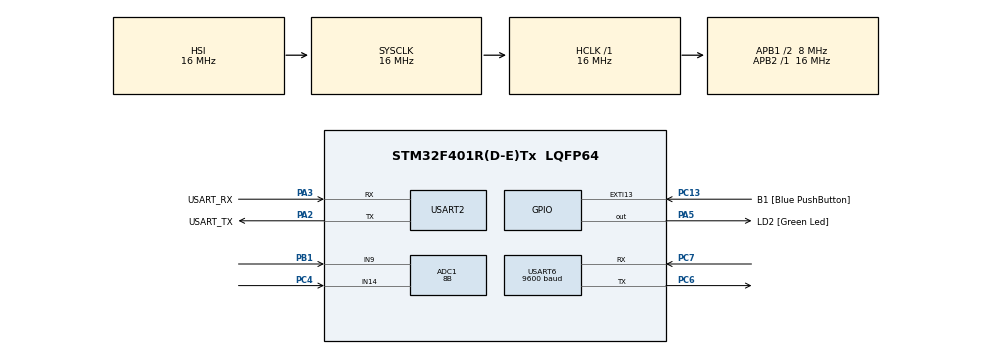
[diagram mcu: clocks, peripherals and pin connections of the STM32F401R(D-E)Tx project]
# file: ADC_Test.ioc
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ADC1.Channel-0\#ChannelRegularConversion=ADC_CHANNEL_9
ADC1.EOCSelection=ADC_EOC_SINGLE_CONV
ADC1.NbrOfConversionFlag=1
ADC1.Rank-0\#ChannelRegularConversion=1
ADC1.Resolution=ADC_RESOLUTION_8B
ADC1.SamplingTime-0\#ChannelRegularConversion=ADC_SAMPLETIME_15CYCLES
ADC1.ScanConvMode=ENABLE
ADC1.master=1
Mcu.Family=STM32F4
Mcu.Name=STM32F401R(D-E)Tx
Mcu.Package=LQFP64
NVIC.PriorityGroup=NVIC_PRIORITYGROUP_0
PA13.GPIO_Label=TMS
PA13.Mode=Serial_Wire
PA13.Signal=SYS_JTMS-SWDIO
PA14.GPIO_Label=TCK
PA14.Mode=Serial_Wire
PA14.Signal=SYS_JTCK-SWCLK
PA2.GPIO_Label=USART_TX
PA2.GPIO_Mode=GPIO_MODE_AF_PP
PA2.GPIO_PuPd=GPIO_NOPULL
PA2.GPIO_Speed=GPIO_SPEED_FREQ_LOW
PA2.Mode=Asynchronous
PA2.Signal=USART2_TX
PA3.GPIO_Label=USART_RX
PA3.GPIO_Mode=GPIO_MODE_AF_PP
PA3.GPIO_PuPd=GPIO_NOPULL
PA3.GPIO_Speed=GPIO_SPEED_FREQ_LOW
PA3.Mode=Asynchronous
PA3.Signal=USART2_RX
PA5.GPIO_Label=LD2 [Green Led]
PA5.GPIO_Mode=GPIO_MODE_OUTPUT_PP
PA5.GPIO_PuPd=GPIO_NOPULL
PA5.GPIO_Speed=GPIO_SPEED_FREQ_LOW
PA5.Signal=GPIO_Output
PB1.Signal=ADCx_IN9
PB3.GPIO_Label=SWO
PB3.Signal=SYS_JTDO-SWO
PC13-ANTI_TAMP.GPIO_Label=B1 [Blue PushButton]
PC13-ANTI_TAMP.GPIO_ModeDefaultEXTI=GPIO_MODE_IT_FALLING
PC13-ANTI_TAMP.GPIO_PuPd=GPIO_NOPULL
PC13-ANTI_TAMP.Signal=GPXTI13
PC14-OSC32_IN.Mode=LSE-External-Oscillator
PC14-OSC32_IN.Signal=RCC_OSC32_IN
PC15-OSC32_OUT.Mode=LSE-External-Oscillator
PC15-OSC32_OUT.Signal=RCC_OSC32_OUT
PC4.Signal=ADCx_IN14
PC6.Mode=Asynchronous
PC6.Signal=USART6_TX
PC7.Mode=Asynchronous
PC7.Signal=USART6_RX
PH0\ -\ OSC_IN.Mode=HSE-External-Clock-Source
PH0\ -\ OSC_IN.Signal=RCC_OSC_IN
PH1\ -\ OSC_OUT.Mode=HSE-External-Clock-Source
PH1\ -\ OSC_OUT.Signal=RCC_OSC_OUT
ProjectManager.HeapSize=0x200
ProjectManager.StackSize=0x400
ProjectManager.TargetToolchain=STM32CubeIDE
RCC.48MHZClocksFreq_Value=48000000
RCC.AHBFreq_Value=16000000
RCC.APB1CLKDivider=RCC_HCLK_DIV2
RCC.APB1Freq_Value=8000000
RCC.APB1TimFreq_Value=16000000
RCC.APB2Freq_Value=16000000
RCC.APB2TimFreq_Value=16000000
RCC.CortexFreq_Value=16000000
RCC.HCLKFreq_Value=16000000
RCC.HSE_VALUE=8000000
RCC.HSI_VALUE=16000000
RCC.PLLN=336
RCC.PLLP=RCC_PLLP_DIV4
RCC.PLLQ=7
RCC.SYSCLKFreq_VALUE=16000000
RCC.VCOOutputFreq_Value=336000000
SH.ADCx_IN14.0=ADC1_IN14,IN14
SH.ADCx_IN9.0=ADC1_IN9,IN9
USART2.VirtualMode=VM_ASYNC
USART6.BaudRate=9600
USART6.VirtualMode=VM_ASYNC
board=NUCLEO-F401RE

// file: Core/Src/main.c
/* USER CODE BEGIN Header */
/**
 ******************************************************************************
 * @file           : main.c
 * @brief          : Main program body
 ******************************************************************************
 * @attention
 *
 * Copyright (c) 2022 STMicroelectronics.
 * All rights reserved.
 *
 * This software is licensed under terms that can be found in the LICENSE file
 * in the root directory of this software component.
 * If no LICENSE file comes with this software, it is provided AS-IS.
 *
 ******************************************************************************
 */
/* USER CODE END Header */
#include "main.h"

/* USER CODE BEGIN Includes */
#include <string.h>
#include <stdio.h>
/* USER CODE END Includes */

ADC_HandleTypeDef hadc1;

UART_HandleTypeDef huart2;
UART_HandleTypeDef huart6;

void SystemClock_Config(void);
static void MX_GPIO_Init(void);
static void MX_USART2_UART_Init(void);
static void MX_ADC1_Init(void);
static void MX_USART6_UART_Init(void);
/* USER CODE BEGIN PFP */
static void ADC_Select_CH(int CH);
/* USER CODE END PFP */

/* USER CODE BEGIN 0 */
void ADC_Select_CH(int CH)
{
  ADC_ChannelConfTypeDef sConfig = {0};
  switch (CH)
  {
  case 0:
    sConfig.Channel = ADC_CHANNEL_0;
    sConfig.Rank = 1;
    if (HAL_ADC_ConfigChannel(&hadc1, &sConfig) != HAL_OK)
    {
      Error_Handler();
    }
    break;
  case 1:
    sConfig.Channel = ADC_CHANNEL_1;
    sConfig.Rank = 1;
    if (HAL_ADC_ConfigChannel(&hadc1, &sConfig) != HAL_OK)
    {
      Error_Handler();
    }
    break;
  case 2:
    sConfig.Channel = ADC_CHANNEL_2;
    sConfig.Rank = 1;
    if (HAL_ADC_ConfigChannel(&hadc1, &sConfig) != HAL_OK)
    {
      Error_Handler();
    }
    break;
  case 3:
    sConfig.Channel = ADC_CHANNEL_3;
    sConfig.Rank = 1;
    if (HAL_ADC_ConfigChannel(&hadc1, &sConfig) != HAL_OK)
    {
      Error_Handler();
    }
    break;
  case 4:
    sConfig.Channel = ADC_CHANNEL_4;
    sConfig.Rank = 1;
    if (HAL_ADC_ConfigChannel(&hadc1, &sConfig) != HAL_OK)
    {
      Error_Handler();
    }
    break;
  case 5:
    sConfig.Channel = ADC_CHANNEL_5;
    sConfig.Rank = 1;
    if (HAL_ADC_ConfigChannel(&hadc1, &sConfig) != HAL_OK)
    {
      Error_Handler();
    }
    break;
  case 6:
    sConfig.Channel = ADC_CHANNEL_6;
    sConfig.Rank = 1;
    if (HAL_ADC_ConfigChannel(&hadc1, &sConfig) != HAL_OK)
    {
      Error_Handler();
    }
    break;
  case 7:
    sConfig.Channel = ADC_CHANNEL_7;
    sConfig.Rank = 1;
    if (HAL_ADC_ConfigChannel(&hadc1, &sConfig) != HAL_OK)
    {
      Error_Handler();
    }
    break;
  case 8:
    sConfig.Channel = ADC_CHANNEL_8;
    sConfig.Rank = 1;
    if (HAL_ADC_ConfigChannel(&hadc1, &sConfig) != HAL_OK)
    {
      Error_Handler();
    }
    break;
  case 9:
    sConfig.Channel = ADC_CHANNEL_9;
    sConfig.Rank = 1;
    if (HAL_ADC_ConfigChannel(&hadc1, &sConfig) != HAL_OK)
    {
      Error_Handler();
    }
    break;
  case 10:
    sConfig.Channel = ADC_CHANNEL_10;
    sConfig.Rank = 1;
    if (HAL_ADC_ConfigChannel(&hadc1, &sConfig) != HAL_OK)
    {
      Error_Handler();
    }
    break;
  case 11:
    sConfig.Channel = ADC_CHANNEL_11;
    sConfig.Rank = 1;
    if (HAL_ADC_ConfigChannel(&hadc1, &sConfig) != HAL_OK)
    {
      Error_Handler();
    }
    break;
  case 12:
    sConfig.Channel = ADC_CHANNEL_12;
    sConfig.Rank = 1;
    if (HAL_ADC_ConfigChannel(&hadc1, &sConfig) != HAL_OK)
    {
      Error_Handler();
    }
    break;
  case 13:
    sConfig.Channel = ADC_CHANNEL_13;
    sConfig.Rank = 1;
    if (HAL_ADC_ConfigChannel(&hadc1, &sConfig) != HAL_OK)
    {
      Error_Handler();
    }
    break;
  case 14:
    sConfig.Channel = ADC_CHANNEL_14;
    sConfig.Rank = 1;
    if (HAL_ADC_ConfigChannel(&hadc1, &sConfig) != HAL_OK)
    {
      Error_Handler();
    }
    break;
  case 15:
    sConfig.Channel = ADC_CHANNEL_15;
    sConfig.Rank = 1;
    if (HAL_ADC_ConfigChannel(&hadc1, &sConfig) != HAL_OK)
    {
      Error_Handler();
    }
    break;
  }
}
/* USER CODE END 0 */

int main(void)
{

  /* MCU Configuration--------------------------------------------------------*/

  /* Reset of all peripherals, Initializes the Flash interface and the Systick. */
  HAL_Init();

  /* Configure the system clock */
  SystemClock_Config();

  /* Initialize all configured peripherals */
  MX_GPIO_Init();
  MX_USART2_UART_Init();
  MX_ADC1_Init();
  MX_USART6_UART_Init();
  /* USER CODE BEGIN 2 */
  uint8_t txd_msg_buffer[64] = {0};
  uint8_t pikachu_gif_number = 0;
  /* USER CODE END 2 */

  /* Infinite loop */
  /* USER CODE BEGIN WHILE */
  while (1)
  {
    pikachu_gif_number += 1;
    ADC_Select_CH(9);
    HAL_ADC_Start(&hadc1);
    HAL_ADC_PollForConversion(&hadc1, 1000);
    uint8_t ADC_CH9 = HAL_ADC_GetValue(&hadc1);
    HAL_ADC_Stop(&hadc1);

    ADC_Select_CH(14);
    HAL_ADC_Start(&hadc1);
    HAL_ADC_PollForConversion(&hadc1, 1000);
    uint8_t ADC_CH14 = HAL_ADC_GetValue(&hadc1);
    HAL_ADC_Stop(&hadc1);
    /* USER CODE END WHILE */

    /* USER CODE BEGIN 3 */
    sprintf((char *)txd_msg_buffer, "\r\n x = %d, y = %d", ADC_CH14, ADC_CH9);
    HAL_UART_Transmit(&huart6, txd_msg_buffer, strlen((char *)txd_msg_buffer), 1000);
  }
  /* USER CODE END 3 */
}

void SystemClock_Config(void)
{
  RCC_OscInitTypeDef RCC_OscInitStruct = {0};
  RCC_ClkInitTypeDef RCC_ClkInitStruct = {0};

  /** Configure the main internal regulator output voltage
   */
  __HAL_RCC_PWR_CLK_ENABLE();
  __HAL_PWR_VOLTAGESCALING_CONFIG(PWR_REGULATOR_VOLTAGE_SCALE2);

  /** Initializes the RCC Oscillators according to the specified parameters
   * in the RCC_OscInitTypeDef structure.
   */
  RCC_OscInitStruct.OscillatorType = RCC_OSCILLATORTYPE_HSI;
  RCC_OscInitStruct.HSIState = RCC_HSI_ON;
  RCC_OscInitStruct.HSICalibrationValue = RCC_HSICALIBRATION_DEFAULT;
  RCC_OscInitStruct.PLL.PLLState = RCC_PLL_NONE;
  if (HAL_RCC_OscConfig(&RCC_OscInitStruct) != HAL_OK)
  {
    Error_Handler();
  }

  /** Initializes the CPU, AHB and APB buses clocks
   */
  RCC_ClkInitStruct.ClockType = RCC_CLOCKTYPE_HCLK | RCC_CLOCKTYPE_SYSCLK | RCC_CLOCKTYPE_PCLK1 | RCC_CLOCKTYPE_PCLK2;
  RCC_ClkInitStruct.SYSCLKSource = RCC_SYSCLKSOURCE_HSI;
  RCC_ClkInitStruct.AHBCLKDivider = RCC_SYSCLK_DIV1;
  RCC_ClkInitStruct.APB1CLKDivider = RCC_HCLK_DIV2;
  RCC_ClkInitStruct.APB2CLKDivider = RCC_HCLK_DIV1;

  if (HAL_RCC_ClockConfig(&RCC_ClkInitStruct, FLASH_LATENCY_0) != HAL_OK)
  {
    Error_Handler();
  }
}

static void MX_ADC1_Init(void)
{

  ADC_ChannelConfTypeDef sConfig = {0};

  /** Configure the global features of the ADC (Clock, Resolution, Data Alignment and number of conversion)
   */
  hadc1.Instance = ADC1;
  hadc1.Init.ClockPrescaler = ADC_CLOCK_SYNC_PCLK_DIV2;
  hadc1.Init.Resolution = ADC_RESOLUTION_8B;
  hadc1.Init.ScanConvMode = ENABLE;
  hadc1.Init.ContinuousConvMode = DISABLE;
  hadc1.Init.DiscontinuousConvMode = DISABLE;
  hadc1.Init.ExternalTrigConvEdge = ADC_EXTERNALTRIGCONVEDGE_NONE;
  hadc1.Init.ExternalTrigConv = ADC_SOFTWARE_START;
  hadc1.Init.DataAlign = ADC_DATAALIGN_RIGHT;
  hadc1.Init.NbrOfConversion = 1;
  hadc1.Init.DMAContinuousRequests = DISABLE;
  hadc1.Init.EOCSelection = ADC_EOC_SINGLE_CONV;
  if (HAL_ADC_Init(&hadc1) != HAL_OK)
  {
    Error_Handler();
  }

  /** Configure for the selected ADC regular channel its corresponding rank in the sequencer and its sample time.
   */
  sConfig.Channel = ADC_CHANNEL_9;
  sConfig.Rank = 1;
  sConfig.SamplingTime = ADC_SAMPLETIME_15CYCLES;
  if (HAL_ADC_ConfigChannel(&hadc1, &sConfig) != HAL_OK)
  {
    Error_Handler();
  }
}

static void MX_USART2_UART_Init(void)
{

  huart2.Instance = USART2;
  huart2.Init.BaudRate = 115200;
  huart2.Init.WordLength = UART_WORDLENGTH_8B;
  huart2.Init.StopBits = UART_STOPBITS_1;
  huart2.Init.Parity = UART_PARITY_NONE;
  huart2.Init.Mode = UART_MODE_TX_RX;
  huart2.Init.HwFlowCtl = UART_HWCONTROL_NONE;
  huart2.Init.OverSampling = UART_OVERSAMPLING_16;
  if (HAL_UART_Init(&huart2) != HAL_OK)
  {
    Error_Handler();
  }
}

static void MX_USART6_UART_Init(void)
{

  huart6.Instance = USART6;
  huart6.Init.BaudRate = 9600;
  huart6.Init.WordLength = UART_WORDLENGTH_8B;
  huart6.Init.StopBits = UART_STOPBITS_1;
  huart6.Init.Parity = UART_PARITY_NONE;
  huart6.Init.Mode = UART_MODE_TX_RX;
  huart6.Init.HwFlowCtl = UART_HWCONTROL_NONE;
  huart6.Init.OverSampling = UART_OVERSAMPLING_16;
  if (HAL_UART_Init(&huart6) != HAL_OK)
  {
    Error_Handler();
  }
}

static void MX_GPIO_Init(void)
{
  GPIO_InitTypeDef GPIO_InitStruct = {0};

  /* GPIO Ports Clock Enable */
  __HAL_RCC_GPIOC_CLK_ENABLE();
  __HAL_RCC_GPIOH_CLK_ENABLE();
  __HAL_RCC_GPIOA_CLK_ENABLE();
  __HAL_RCC_GPIOB_CLK_ENABLE();

  /*Configure GPIO pin Output Level */
  HAL_GPIO_WritePin(LD2_GPIO_Port, LD2_Pin, GPIO_PIN_RESET);

  /*Configure GPIO pin : B1_Pin */
  GPIO_InitStruct.Pin = B1_Pin;
  GPIO_InitStruct.Mode = GPIO_MODE_IT_FALLING;
  GPIO_InitStruct.Pull = GPIO_NOPULL;
  HAL_GPIO_Init(B1_GPIO_Port, &GPIO_InitStruct);

  /*Configure GPIO pin : LD2_Pin */
  GPIO_InitStruct.Pin = LD2_Pin;
  GPIO_InitStruct.Mode = GPIO_MODE_OUTPUT_PP;
  GPIO_InitStruct.Pull = GPIO_NOPULL;
  GPIO_InitStruct.Speed = GPIO_SPEED_FREQ_LOW;
  HAL_GPIO_Init(LD2_GPIO_Port, &GPIO_InitStruct);
}

void Error_Handler(void)
{
  __disable_irq();
  while (1)
  {
  }
}
